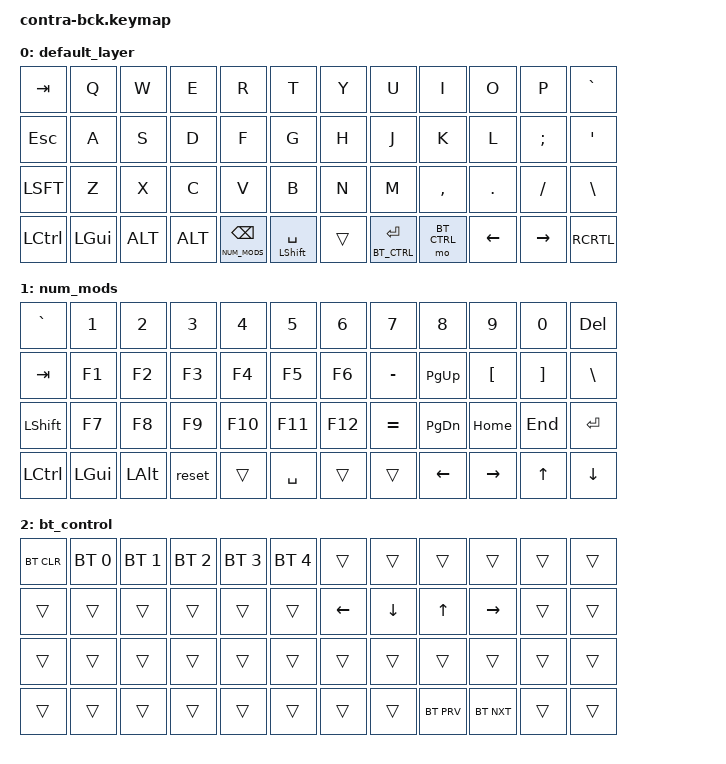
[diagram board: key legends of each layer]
#include <behaviors.dtsi>
#include <dt-bindings/zmk/keys.h>
#include <dt-bindings/zmk/bt.h>

#define DEFAULT  0
#define NUM_MODS 1
#define BT_CTRL  2

/ {
    keymap {
        compatible = "zmk,keymap";

        default_layer {
// --------------------------------------------------------------------------------------------------------------------------------------------------------------------
// |   LGUI  |    Q    |    W    |    E    |    R    |    T    |    Y    |    U    |    I    |    O    |    P    |    \    |
// |   ESC   |    A    |    S    |    D    |    F    |    G    |    H    |    J    |    K    |    L    |    ;    |    '    |
// |  SHIFT  |    Z    |    X    |    C    |    V    |    B    |    N    |    M    |    ,    |    .    |    /    |  ENTER  |
// |  CTRL   |    GUI  |    ALT  |    \    |    LOWER|    SPACE          |    RAISE|    LEFT |  RIGHT  |   UP    |  DOWN   |
            bindings = <
    &kp TAB    &kp Q     &kp W    &kp E   &kp R              &kp T             &kp Y     &kp U              &kp I        &kp O     &kp P     &kp GRAVE
    &kp ESC    &kp A     &kp S    &kp D   &kp F              &kp G             &kp H     &kp J              &kp K        &kp L     &kp SEMI  &kp SQT
    &kp LSFT   &kp Z     &kp X    &kp C   &kp V              &kp B             &kp N     &kp M              &kp COMMA    &kp DOT   &kp FSLH  &kp BSLH
    &kp LCTRL  &kp LGUI  &kp ALT  &kp ALT &lt NUM_MODS BSPC  &mt LSHIFT SPACE  &trans    &lt BT_CTRL ENTER  &mo BT_CTRL  &kp LEFT  &kp RIGHT &kp RCRTL
            >;
        };

        num_mods {
// --------------------------------------------------------------------------------------------------------------------------------------------------------------------
// |   `     |    1    |    2    |    3    |    4    |    5    |    6    |    7    |    8    |    9    |    0    |    DEL  |
// |   TAB   |    F1   |   F2    |   F3    |   F4    |   F5    |   F6    |    -    |   PG_UP |    [    |    ]    |    \    |
// |  SHIFT  |    F7   |   F8    |   F9    |   F10   |   F11   |   F12   |    =    |  PG_DOWN|  HOME   |   END   |  ENTER  |
// |  CTRL   |    GUI  |    ALT  |  RESET  |    LOWER|    SPACE          |    RAISE|    LEFT |  RIGHT  |   UP    |  DOWN   |
            bindings = <
    &kp GRAVE &kp N1    &kp N2   &kp N3    &kp N4    &kp N5     &kp N6    &kp N7    &kp N8    &kp N9    &kp N0   &kp DEL
    &kp TAB   &kp F1    &kp F2   &kp F3    &kp F4    &kp F5     &kp F6    &kp MINUS &kp PG_UP &kp LBKT  &kp RBKT &kp BSLH
    &kp LSHFT &kp F7    &kp F8   &kp F9    &kp F10   &kp F11    &kp F12   &kp EQUAL &kp PG_DN &kp HOME  &kp END  &kp ENTER
    &kp LCTRL &kp LGUI  &kp LALT &reset    &trans    &kp SPACE  &trans    &trans    &kp LEFT  &kp RIGHT &kp UP   &kp DOWN
            >;
        };

        bt_control {
            bindings = <
    &bt BT_CLR &bt BT_SEL 0 &bt BT_SEL 1 &bt BT_SEL 2 &bt BT_SEL 3 &bt BT_SEL 4 &trans   &trans   &trans     &trans     &trans   &trans
    &trans     &trans       &trans       &trans       &trans       &trans       &kp LEFT &kp DOWN &kp UP     &kp RIGHT  &trans   &trans
    &trans     &trans       &trans       &trans       &trans       &trans       &trans   &trans   &trans     &trans     &trans   &trans
    &trans     &trans       &trans       &trans       &trans       &trans       &trans   &trans   &bt BT_PRV &bt BT_NXT &trans   &trans
            >;
        };
    };
};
